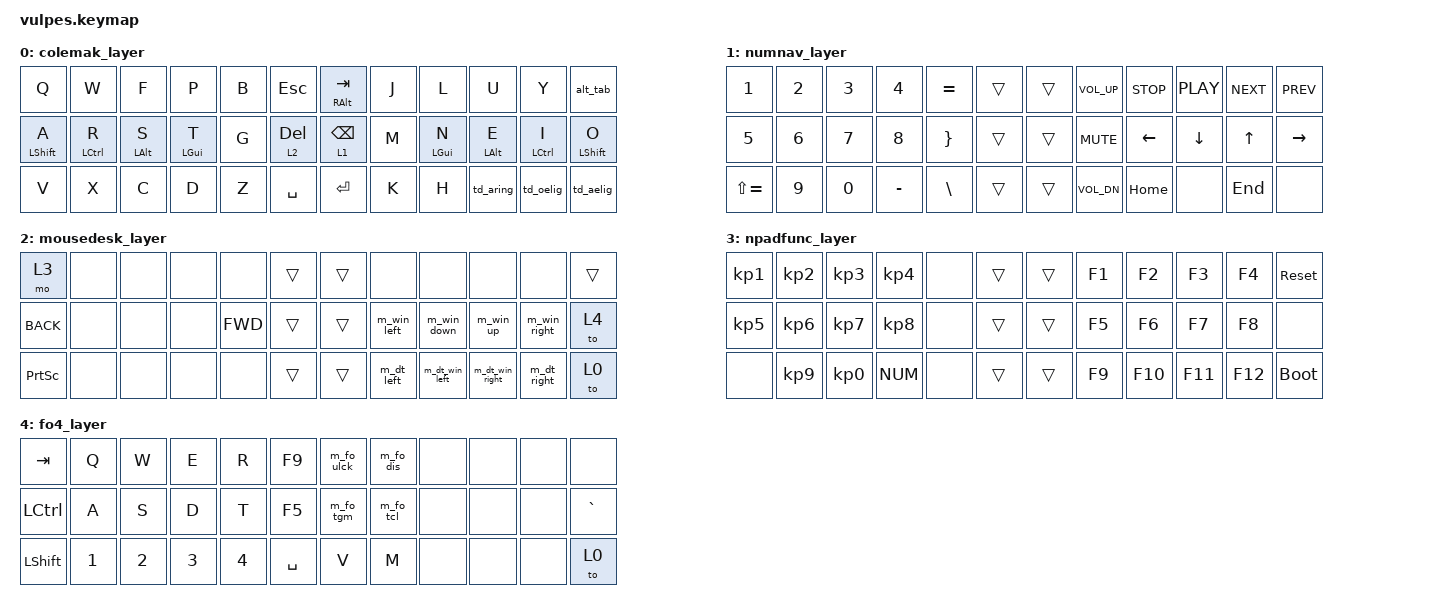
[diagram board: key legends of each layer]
/ {
    behaviors {
        // Home Row Modifiers
        hm: homerow_mods {
            compatible = "zmk,behavior-hold-tap";
            #binding-cells = <2>;
            tapping-term-ms = <180>;
            quick-tap-ms = <50>;
            flavor = "balanced";
            bindings = <&kp>, <&kp>;
        };

        // Tap Dances for Nordic Characters
        td_aring: td_aring {
            compatible = "zmk,behavior-tap-dance";
            #binding-cells = <0>;
            tapping-term-ms = <200>;
            bindings = <&kp COMMA>, <&kp LBRC>; // å
        };
        td_oelig: td_oelig {
            compatible = "zmk,behavior-tap-dance";
            #binding-cells = <0>;
            tapping-term-ms = <200>;
            bindings = <&kp DOT>, <&kp SCLN>; // ø
        };
        td_aelig: td_aelig {
            compatible = "zmk,behavior-tap-dance";
            #binding-cells = <0>;
            tapping-term-ms = <200>;
            bindings = <&kp SLASH>, <&kp QUOT>; // æ
        };
    };
};

/ {
    combos {
        compatible = "zmk,combos";
        timeout-ms = <50>;
        
        combo_grave { key-positions = <0 12>; bindings = <&kp GRAVE>; layers = <0>; };
        combo_lpar  { key-positions = <3 4>;  bindings = <&kp LPAR>; layers = <0>; };
        combo_rpar  { key-positions = <7 8>;  bindings = <&kp RPAR>; layers = <0>; };
        combo_lbrc  { key-positions = <15 16>; bindings = <&kp LBRC>; layers = <0>; };
        combo_rbrc  { key-positions = <19 20>; bindings = <&kp RBRC>; layers = <0>; };
        combo_lbkt  { key-positions = <27 28>; bindings = <&kp LBKT>; layers = <0>; };
        combo_rbkt  { key-positions = <31 32>; bindings = <&kp RBKT>; layers = <0>; };
        combo_tilde { key-positions = <11 23>; bindings = <&kp TILDE>; layers = <0>; };
        combo_lt    { key-positions = <14 15>; bindings = <&kp LT>; layers = <0>; };
        combo_gt    { key-positions = <20 21>; bindings = <&kp GT>; layers = <0>; };
        combo_star  { key-positions = <9 8>;   bindings = <&kp STAR>; layers = <0>; };
        combo_qmark { key-positions = <3 15>;  bindings = <&kp QMARK>; layers = <0>; };
        combo_dqt   { key-positions = <15 27>; bindings = <&kp DQT>; layers = <0>; };
        combo_equal { key-positions = <32 33>; bindings = <&kp EQUAL>; layers = <0>; };
        combo_slash { key-positions = <25 26>; bindings = <&kp SLASH>; layers = <0>; };
        combo_bslh  { key-positions = <33 34>; bindings = <&kp BSLH>; layers = <0>; };
        combo_dllr  { key-positions = <26 27>; bindings = <&kp DLLR>; layers = <0>; };
        combo_at    { key-positions = <12 25>; bindings = <&kp AT>; layers = <0>; };
        combo_excl  { key-positions = <8 20>;  bindings = <&kp EXCL>; layers = <0>; };
        combo_sqt   { key-positions = <20 32>; bindings = <&kp SQT>; layers = <0>; };
        combo_plus  { key-positions = <23 35>; bindings = <&kp PLUS>; layers = <0>; };
        combo_hash  { key-positions = <2 3>;   bindings = <&kp HASH>; layers = <0>; };
        combo_ampr  { key-positions = <1 2>;   bindings = <&kp AMPS>; layers = <0>; };
        combo_l3    { key-positions = <17 18>; bindings = <&mo 3>; layers = <0>; }; // NPADFUNC
        combo_save  { key-positions = <14 2>;  bindings = <&kp LA(S)>; layers = <0>; };
        combo_b     { key-positions = <1 13>;  bindings = <&kp B>; layers = <0>; };
        combo_j     { key-positions = <9 21>;  bindings = <&kp J>; layers = <0>; };
        combo_k     { key-positions = <10 22>; bindings = <&kp K>; layers = <0>; };
    };
};

/ {
    macros {
        // Window Management
        m_dt_left: m_dt_left {
            compatible = "zmk,behavior-macro";
            #binding-cells = <0>;
            bindings = <&macro_press &kp LCTRL &kp LGUI>, <&macro_tap &kp LEFT>, <&macro_release &kp LCTRL &kp LGUI>;
        };
        m_dt_right: m_dt_right {
            compatible = "zmk,behavior-macro";
            #binding-cells = <0>;
            bindings = <&macro_press &kp LCTRL &kp LGUI>, <&macro_tap &kp RIGHT>, <&macro_release &kp LCTRL &kp LGUI>;
        };
        m_dt_win_left: m_dt_win_left {
            compatible = "zmk,behavior-macro";
            #binding-cells = <0>;
            bindings = <&macro_press &kp LCTRL &kp LSHFT &kp LGUI>, <&macro_tap &kp LEFT>, <&macro_release &kp LCTRL &kp LSHFT &kp LGUI>;
        };
        m_dt_win_right: m_dt_win_right {
            compatible = "zmk,behavior-macro";
            #binding-cells = <0>;
            bindings = <&macro_press &kp LCTRL &kp LSHFT &kp LGUI>, <&macro_tap &kp RIGHT>, <&macro_release &kp LCTRL &kp LSHFT &kp LGUI>;
        };
        m_win_left: m_win_left {
            compatible = "zmk,behavior-macro";
            #binding-cells = <0>;
            bindings = <&macro_press &kp LSHFT &kp LGUI>, <&macro_tap &kp LEFT>, <&macro_release &kp LSHFT &kp LGUI>;
        };
        m_win_right: m_win_right {
            compatible = "zmk,behavior-macro";
            #binding-cells = <0>;
            bindings = <&macro_press &kp LSHFT &kp LGUI>, <&macro_tap &kp RIGHT>, <&macro_release &kp LSHFT &kp LGUI>;
        };
        m_win_up: m_win_up {
            compatible = "zmk,behavior-macro";
            #binding-cells = <0>;
            bindings = <&macro_press &kp LSHFT &kp LGUI>, <&macro_tap &kp UP>, <&macro_release &kp LSHFT &kp LGUI>;
        };
        m_win_down: m_win_down {
            compatible = "zmk,behavior-macro";
            #binding-cells = <0>;
            bindings = <&macro_press &kp LSHFT &kp LGUI>, <&macro_tap &kp DOWN>, <&macro_release &kp LSHFT &kp LGUI>;
        };

        // Fallout 4 Console Commands
        m_fo_ulck: m_fo_ulck {
            compatible = "zmk,behavior-macro";
            #binding-cells = <0>;
            wait-ms = <10>;
            tap-ms = <10>;
            bindings = <&kp U &kp N &kp L &kp O &kp C &kp K &kp ENTER>;
        };
        m_fo_dis: m_fo_dis {
            compatible = "zmk,behavior-macro";
            #binding-cells = <0>;
            bindings = <&kp D &kp I &kp S &kp A &kp B &kp L &kp E &kp ENTER>;
        };
        m_fo_tgm: m_fo_tgm {
            compatible = "zmk,behavior-macro";
            #binding-cells = <0>;
            bindings = <&kp T &kp G &kp M &kp ENTER>;
        };
        m_fo_tcl: m_fo_tcl {
            compatible = "zmk,behavior-macro";
            #binding-cells = <0>;
            bindings = <&kp T &kp C &kp L &kp ENTER>;
        };

        // Alt-Tab Logic
        alt_tab: alt_tab {
            compatible = "zmk,behavior-macro";
            #binding-cells = <0>;
            bindings = <&macro_press &kp LALT>, <&macro_tap &kp TAB>, <&macro_pause_for_release>, <&macro_release &kp LALT>;
        };
    };
};

/ {
    keymap {
        compatible = "zmk,keymap";

        colemak_layer {
            bindings = <
&kp Q       &kp W       &kp F       &kp P       &kp B       &kp ESC    &mt RALT TAB &kp J       &kp L       &kp U       &kp Y       &alt_tab
&hm LSHFT A &hm LCTRL R &hm LALT S  &hm LGUI T  &kp G       &lt 2 DEL  &lt 1 BSPC   &kp M       &hm LGUI N  &hm LALT E  &hm LCTRL I &hm LSHFT O
&kp V       &kp X       &kp C       &kp D       &kp Z       &kp SPACE  &kp ENTER    &kp K       &kp H       &td_aring   &td_oelig   &td_aelig
            >;
        };

        numnav_layer {
            bindings = <
&kp N1      &kp N2      &kp N3      &kp N4      &kp EQUAL   &trans     &trans       &kp VOL_UP  &kp STOP    &kp PLAY    &kp NEXT    &kp PREV
&kp N5      &kp N6      &kp N7      &kp N8      &kp RBRC    &trans     &trans       &kp MUTE    &kp LEFT    &kp DOWN    &kp UP      &kp RIGHT
&kp LS(EQUAL) &kp N9    &kp N0      &kp MINUS   &kp BSLH    &trans     &trans       &kp VOL_DN  &kp HOME    &none       &kp END     &none
            >;
        };

        mousedesk_layer {
            bindings = <
&mo 3       &none       &none       &none       &none       &trans     &trans       &none       &none       &none       &none       &trans
&kp K_BACK  &none       &none       &none       &kp K_FWD   &trans     &trans       &m_win_left &m_win_down &m_win_up   &m_win_right &to 4
&kp PSCRN   &none       &none       &none       &none       &trans     &trans       &m_dt_left  &m_dt_win_left &m_dt_win_right &m_dt_right &to 0
            >;
        };

        npadfunc_layer {
            bindings = <
&kp KP_N1   &kp KP_N2   &kp KP_N3   &kp KP_N4   &none       &trans     &trans       &kp F1      &kp F2      &kp F3      &kp F4      &sys_reset
&kp KP_N5   &kp KP_N6   &kp KP_N7   &kp KP_N8   &none       &trans     &trans       &kp F5      &kp F6      &kp F7      &kp F8      &none
&none       &kp KP_N9   &kp KP_N0   &kp NUM     &none       &trans     &trans       &kp F9      &kp F10     &kp F11     &kp F12     &bootloader
            >;
        };

        fo4_layer {
            bindings = <
&kp TAB     &kp Q       &kp W       &kp E       &kp R       &kp F9     &m_fo_ulck   &m_fo_dis   &none       &none       &none       &none
&kp LCTRL   &kp A       &kp S       &kp D       &kp T       &kp F5     &m_fo_tgm    &m_fo_tcl   &none       &none       &none       &kp GRAVE
&kp LSHFT   &kp N1      &kp N2      &kp N3      &kp N4      &kp SPACE  &kp V        &kp M       &none       &none       &none       &to 0
            >;
        };
    };
};
